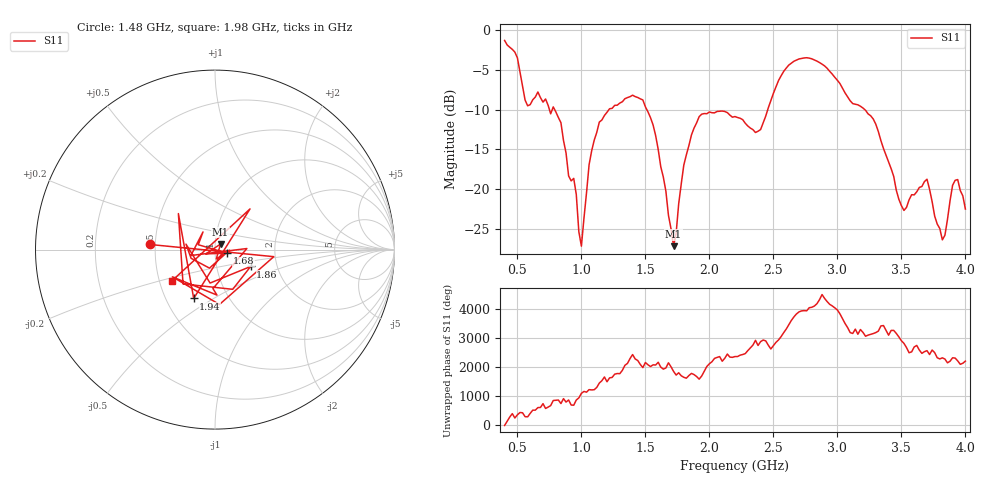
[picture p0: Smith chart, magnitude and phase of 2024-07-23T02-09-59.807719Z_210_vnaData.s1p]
!Created with skrf (http://scikit-rf.org).
# Hz S RI R 50.0
!freq ReS11 ImS11
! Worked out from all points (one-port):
!   181 points, 400 MHz to 4 GHz, reference 50 ohm
!   lowest |S11| = -27.2 dB at 1.72 GHz (marker M1), VSWR 1.09, Z = 53.1 + j3.29 ohm
!   |S11| at or under -10 dB: 791.6 MHz to 1.214 GHz (422.7 MHz wide, 42.1 % of centre); 1.512 GHz to 2.456 GHz (944 MHz wide, 47.6 % of centre); 3.215 GHz to end of sweep (the widest 3 of 4)
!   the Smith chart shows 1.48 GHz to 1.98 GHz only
!   S11 on the Smith chart (normalised r, x): 1.48 GHz: 0.47, +0.03; 1.68 GHz: 1.14, -0.04; 1.86 GHz: 1.46, -0.29; 1.94 GHz: 0.69, -0.41; 1.98 GHz: 0.58, -0.22
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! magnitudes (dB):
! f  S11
! 400 MHz  -1.3
! 500 MHz  -3.5
! 580 MHz  -9.5
! 720 MHz  -8.6
! 860 MHz  -13.9
! 940 MHz  -18.7
! 1 GHz  -27.2
! 1.1 GHz  -13.8
! 1.3 GHz  -9.2
! 1.48 GHz  -8.8
! 1.58 GHz  -13.3
! 1.68 GHz  -23.3
! 1.72 GHz  -27.2
! 1.76 GHz  -21.9
! 1.86 GHz  -13.2
! 1.94 GHz  -10.6
! 1.98 GHz  -10.5
! 2.2 GHz  -10.9
! 2.4 GHz  -12.5
! 2.66 GHz  -3.9
! 3.1 GHz  -8.9
! 3.28 GHz  -11.2
! 3.5 GHz  -22.1
! 3.56 GHz  -21.4
! 3.7 GHz  -18.8
! 3.82 GHz  -26.4
! 3.92 GHz  -18.9
! 4 GHz  -22.5
